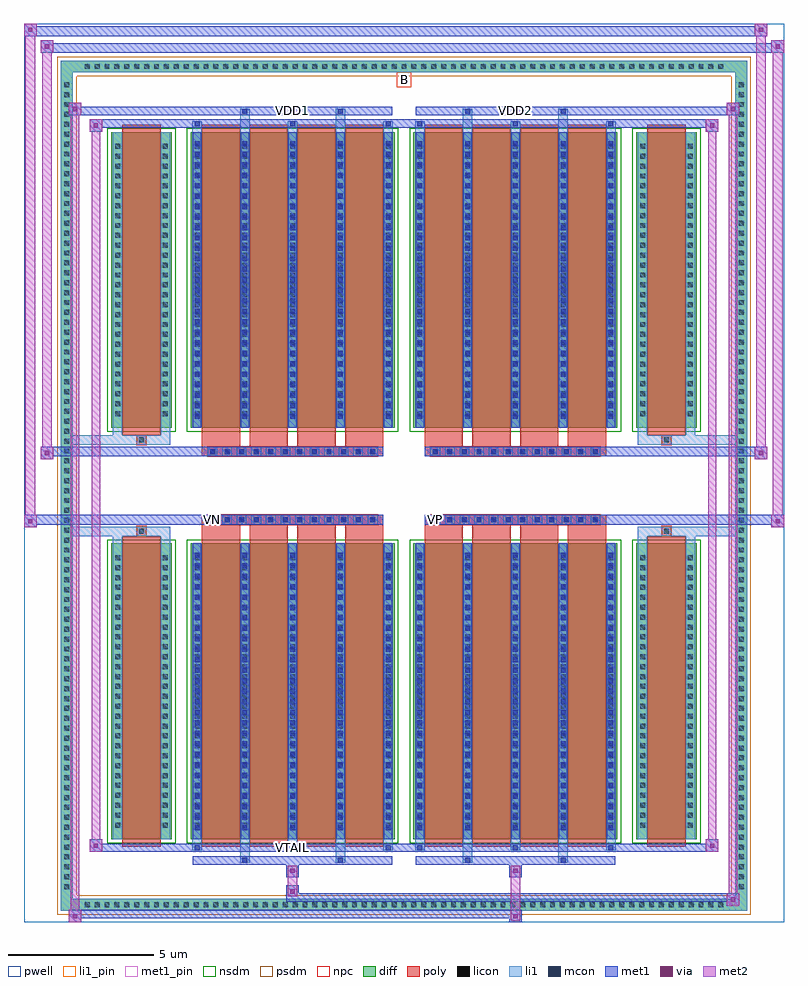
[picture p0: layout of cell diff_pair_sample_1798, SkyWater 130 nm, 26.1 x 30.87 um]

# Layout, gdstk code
import gdstk
lib = gdstk.Library(unit=1e-6, precision=5e-09)
def R(c, l, rs):  # rectangles x0, y0, x1, y1
    for r in rs: c.add(gdstk.rectangle(r[:2], r[2:], *l))
def A(c, l, x, y, w, h, nx, ny, dx, dy):  # array of equal rectangles
    R(c, l, [(x+i*dx, y+j*dy, x+i*dx+w, y+j*dy+h) for i in range(nx) for j in range(ny)])
def P(c, l, *ps):  # polygons
    for p in ps: c.add(gdstk.Polygon(p, *l))
pwell = (64, 44)
diff = (65, 20)
poly = (66, 20)
licon = (66, 44)
li1_pin = (67, 16)
li1 = (67, 20)
mcon = (67, 44)
met1_pin = (68, 16)
met1 = (68, 20)
via = (68, 44)
met2 = (69, 20)
nsdm = (93, 44)
psdm = (94, 20)
npc = (95, 20)

diff_pair_sample_1798 = lib.new_cell('diff_pair_sample_1798')
R(diff_pair_sample_1798, pwell, [(-13.05,-15,13.05,15.87), (-10.37,-13.19,-0.01,-0.805), (0.01,-13.19,10.37,-0.805), (-10.37,0.805,-0.01,13.19), (0.01,0.805,10.37,13.19)])
A(diff_pair_sample_1798, diff, -11.085, -14.6, 0.41, 0.41, 65, 2, 0.34, 28.79)
A(diff_pair_sample_1798, diff, -11.78, -13.975, 0.41, 0.41, 1, 82, 0, 0.34)
A(diff_pair_sample_1798, diff, 11.37, -13.975, 0.41, 0.41, 1, 82, 0, 0.34)
R(diff_pair_sample_1798, diff, [(-11.085,-14.6,11.085,-14.19), (-11.78,-13.975,-11.37,13.975), (11.37,-13.975,11.78,13.975), (-10.06,-12.145,-7.97,-1.985), (-7.33,-12.145,-0.32,-1.985), (0.32,-12.145,7.33,-1.985), (7.97,-12.145,10.06,-1.985), (-10.06,1.985,-7.97,12.145), (-7.33,1.985,-0.32,12.145), (0.32,1.985,7.33,12.145), (7.97,1.985,10.06,12.145), (-11.085,14.19,11.085,14.6)])
P(diff_pair_sample_1798, diff, [(11.78,14.6),(-11.78,14.6),(-11.78,-14.19),(-11.37,-14.19),(-11.37,14.19),(11.37,14.19),(11.37,-14.19),(-11.37,-14.19),(-11.78,-14.19),(-11.78,-14.6),(11.78,-14.6)])
A(diff_pair_sample_1798, poly, -6.94, -12.395, 1.31, 10.66, 4, 2, 1.64, 14.13)
A(diff_pair_sample_1798, poly, 0.71, -12.395, 1.31, 10.66, 4, 2, 1.64, 14.13)
A(diff_pair_sample_1798, poly, -6.94, -1.735, 1.31, 0.4, 4, 2, 1.64, 3.07)
A(diff_pair_sample_1798, poly, 0.71, -1.735, 1.31, 0.4, 4, 2, 1.64, 3.07)
A(diff_pair_sample_1798, poly, -6.74, -1.335, 0.33, 0.33, 12, 2, 0.5, 2.34)
A(diff_pair_sample_1798, poly, 0.91, -1.335, 0.33, 0.33, 12, 2, 0.5, 2.34)
R(diff_pair_sample_1798, poly, [(-9.67,-12.395,-8.36,-1.735), (8.36,-12.395,9.67,-1.735), (-9.18,-1.735,-8.85,-1.405), (-9.18,-1.735,-8.85,-1.405), (8.85,-1.735,9.18,-1.405), (8.85,-1.735,9.18,-1.405), (-6.94,-1.335,-0.71,-1.005), (0.71,-1.335,6.94,-1.005), (-6.94,1.005,-0.71,1.335), (0.71,1.005,6.94,1.335), (-9.18,1.405,-8.85,1.735), (-9.18,1.405,-8.85,1.735), (8.85,1.405,9.18,1.735), (8.85,1.405,9.18,1.735), (-9.67,1.735,-8.36,12.395), (8.36,1.735,9.67,12.395)])
A(diff_pair_sample_1798, licon, -10.965, -14.48, 0.17, 0.17, 65, 2, 0.34, 28.79)
A(diff_pair_sample_1798, licon, -11.66, -13.855, 0.17, 0.17, 1, 82, 0, 0.34)
A(diff_pair_sample_1798, licon, 11.49, -13.855, 0.17, 0.17, 1, 82, 0, 0.34)
A(diff_pair_sample_1798, licon, -9.92, -11.74, 0.17, 0.17, 1, 28, 0, 0.34)
A(diff_pair_sample_1798, licon, -8.28, -11.74, 0.17, 0.17, 1, 28, 0, 0.34)
A(diff_pair_sample_1798, licon, -7.19, -11.74, 0.17, 0.17, 5, 28, 1.64, 0.34)
A(diff_pair_sample_1798, licon, 0.46, -11.74, 0.17, 0.17, 5, 28, 1.64, 0.34)
A(diff_pair_sample_1798, licon, 8.11, -11.74, 0.17, 0.17, 1, 28, 0, 0.34)
A(diff_pair_sample_1798, licon, 9.75, -11.74, 0.17, 0.17, 1, 28, 0, 0.34)
A(diff_pair_sample_1798, licon, -6.66, -1.255, 0.17, 0.17, 12, 2, 0.5, 2.34)
A(diff_pair_sample_1798, licon, 0.99, -1.255, 0.17, 0.17, 12, 2, 0.5, 2.34)
A(diff_pair_sample_1798, licon, -9.92, 2.39, 0.17, 0.17, 1, 28, 0, 0.34)
A(diff_pair_sample_1798, licon, -8.28, 2.39, 0.17, 0.17, 1, 28, 0, 0.34)
A(diff_pair_sample_1798, licon, -7.19, 2.39, 0.17, 0.17, 5, 28, 1.64, 0.34)
A(diff_pair_sample_1798, licon, 0.46, 2.39, 0.17, 0.17, 5, 28, 1.64, 0.34)
A(diff_pair_sample_1798, licon, 8.11, 2.39, 0.17, 0.17, 1, 28, 0, 0.34)
A(diff_pair_sample_1798, licon, 9.75, 2.39, 0.17, 0.17, 1, 28, 0, 0.34)
R(diff_pair_sample_1798, licon, [(-9.1,-1.655,-8.93,-1.485), (8.93,-1.655,9.1,-1.485), (-9.1,1.485,-8.93,1.655), (8.93,1.485,9.1,1.655)])
R(diff_pair_sample_1798, li1_pin, [(-0.25,13.69,0.25,14.19)])
A(diff_pair_sample_1798, li1, -11.045, -14.56, 0.33, 0.33, 65, 2, 0.34, 28.79)
A(diff_pair_sample_1798, li1, -11.74, -13.935, 0.33, 0.33, 1, 82, 0, 0.34)
A(diff_pair_sample_1798, li1, 11.41, -13.935, 0.33, 0.33, 1, 82, 0, 0.34)
A(diff_pair_sample_1798, li1, -7.27, -12.52, 0.33, 0.375, 3, 2, 3.28, 24.665)
A(diff_pair_sample_1798, li1, -7.19, -12.52, 0.17, 0.17, 3, 2, 3.28, 24.87)
A(diff_pair_sample_1798, li1, 0.38, -12.52, 0.33, 0.375, 3, 2, 3.28, 24.665)
A(diff_pair_sample_1798, li1, 0.46, -12.52, 0.17, 0.17, 3, 2, 3.28, 24.87)
A(diff_pair_sample_1798, li1, -7.27, -12.145, 0.33, 10.16, 5, 2, 1.64, 14.13)
A(diff_pair_sample_1798, li1, 0.38, -12.145, 0.33, 10.16, 5, 2, 1.64, 14.13)
A(diff_pair_sample_1798, li1, -7.19, -11.83, 0.17, 0.17, 5, 27, 1.64, 0.36)
A(diff_pair_sample_1798, li1, -7.19, -11.83, 0.17, 9.53, 5, 2, 1.64, 14.13)
A(diff_pair_sample_1798, li1, 0.46, -11.83, 0.17, 0.17, 5, 27, 1.64, 0.36)
A(diff_pair_sample_1798, li1, 0.46, -11.83, 0.17, 9.53, 5, 2, 1.64, 14.13)
A(diff_pair_sample_1798, li1, -10, -11.82, 0.33, 0.33, 1, 28, 0, 0.34)
A(diff_pair_sample_1798, li1, -8.36, -11.82, 0.33, 0.33, 1, 28, 0, 0.34)
A(diff_pair_sample_1798, li1, -7.27, -11.82, 0.33, 0.33, 5, 28, 1.64, 0.34)
A(diff_pair_sample_1798, li1, 0.38, -11.82, 0.33, 0.33, 5, 28, 1.64, 0.34)
A(diff_pair_sample_1798, li1, 8.03, -11.82, 0.33, 0.33, 1, 28, 0, 0.34)
A(diff_pair_sample_1798, li1, 9.67, -11.82, 0.33, 0.33, 1, 28, 0, 0.34)
A(diff_pair_sample_1798, li1, -6.74, -1.335, 0.33, 0.33, 12, 2, 0.5, 2.34)
A(diff_pair_sample_1798, li1, 0.91, -1.335, 0.33, 0.33, 12, 2, 0.5, 2.34)
A(diff_pair_sample_1798, li1, -7.19, 2.3, 0.17, 0.17, 5, 27, 1.64, 0.36)
A(diff_pair_sample_1798, li1, 0.46, 2.3, 0.17, 0.17, 5, 27, 1.64, 0.36)
A(diff_pair_sample_1798, li1, -10, 2.31, 0.33, 0.33, 1, 28, 0, 0.34)
A(diff_pair_sample_1798, li1, -8.36, 2.31, 0.33, 0.33, 1, 28, 0, 0.34)
A(diff_pair_sample_1798, li1, -7.27, 2.31, 0.33, 0.33, 5, 28, 1.64, 0.34)
A(diff_pair_sample_1798, li1, 0.38, 2.31, 0.33, 0.33, 5, 28, 1.64, 0.34)
A(diff_pair_sample_1798, li1, 8.03, 2.31, 0.33, 0.33, 1, 28, 0, 0.34)
A(diff_pair_sample_1798, li1, 9.67, 2.31, 0.33, 0.33, 1, 28, 0, 0.34)
R(diff_pair_sample_1798, li1, [(-11.78,-14.6,-11.37,-14.19), (-11.78,-14.6,-11.37,-14.19), (-11.37,-14.6,11.37,-14.19), (11.37,-14.6,11.78,-14.19), (11.37,-14.6,11.78,-14.19), (-11.78,-14.19,-11.37,14.19), (11.37,-14.19,11.78,14.19), (-5.63,-12.95,-5.3,-12.145), (-5.55,-12.95,-5.38,-12.78), (-2.35,-12.95,-2.02,-12.145), (-2.27,-12.95,-2.1,-12.78), (2.02,-12.95,2.35,-12.145), (2.1,-12.95,2.27,-12.78), (5.3,-12.95,5.63,-12.145), (5.38,-12.95,5.55,-12.78), (-10,-12.145,-9.67,-1.985), (-8.36,-12.145,-8.03,-1.985), (8.03,-12.145,8.36,-1.985), (9.67,-12.145,10,-1.985), (-10,-1.985,-9.67,-1.405), (-8.36,-1.985,-8.03,-1.405), (8.03,-1.985,8.36,-1.405), (9.67,-1.985,10,-1.405), (-11.78,-1.735,-9.18,-1.405), (-10,-1.735,-9.18,-1.405), (-9.18,-1.735,-8.85,-1.405), (-8.85,-1.735,-8.03,-1.405), (8.03,-1.735,8.85,-1.405), (8.85,-1.735,9.18,-1.405), (8.85,-1.735,11.78,-1.405), (9.18,-1.735,10,-1.405), (-11.78,1.405,-9.18,1.735), (-10,1.405,-9.18,1.735), (-10,1.405,-9.67,1.985), (-9.18,1.405,-8.85,1.735), (-8.85,1.405,-8.03,1.735), (-8.36,1.405,-8.03,1.985), (8.03,1.405,8.85,1.735), (8.03,1.405,8.36,1.985), (8.85,1.405,9.18,1.735), (8.85,1.405,11.78,1.735), (9.18,1.405,10,1.735), (9.67,1.405,10,1.985), (-10,1.985,-9.67,12.145), (-8.36,1.985,-8.03,12.145), (8.03,1.985,8.36,12.145), (9.67,1.985,10,12.145), (-5.63,12.145,-5.3,12.95), (-2.35,12.145,-2.02,12.95), (2.02,12.145,2.35,12.95), (5.3,12.145,5.63,12.95), (-5.55,12.78,-5.38,12.95), (-2.27,12.78,-2.1,12.95), (2.1,12.78,2.27,12.95), (5.38,12.78,5.55,12.95), (-11.78,14.19,-11.37,14.6), (-11.78,14.19,-11.37,14.6), (-11.37,14.19,11.37,14.6), (11.37,14.19,11.78,14.6), (11.37,14.19,11.78,14.6)])
A(diff_pair_sample_1798, mcon, -7.19, -12.52, 0.17, 0.17, 3, 2, 3.28, 24.87)
A(diff_pair_sample_1798, mcon, 0.46, -12.52, 0.17, 0.17, 3, 2, 3.28, 24.87)
A(diff_pair_sample_1798, mcon, -7.19, -11.83, 0.17, 0.17, 5, 27, 1.64, 0.36)
A(diff_pair_sample_1798, mcon, 0.46, -11.83, 0.17, 0.17, 5, 27, 1.64, 0.36)
A(diff_pair_sample_1798, mcon, -6.66, -1.255, 0.17, 0.17, 12, 2, 0.5, 2.34)
A(diff_pair_sample_1798, mcon, 0.99, -1.255, 0.17, 0.17, 12, 2, 0.5, 2.34)
A(diff_pair_sample_1798, mcon, -7.19, 2.3, 0.17, 0.17, 5, 27, 1.64, 0.36)
A(diff_pair_sample_1798, mcon, 0.46, 2.3, 0.17, 0.17, 5, 27, 1.64, 0.36)
R(diff_pair_sample_1798, mcon, [(-5.55,-12.95,-5.38,-12.78), (-2.27,-12.95,-2.1,-12.78), (2.1,-12.95,2.27,-12.78), (5.38,-12.95,5.55,-12.78), (-5.55,12.78,-5.38,12.95), (-2.27,12.78,-2.1,12.95), (2.1,12.78,2.27,12.95), (5.38,12.78,5.55,12.95)])
R(diff_pair_sample_1798, met1_pin, [(-3.96,-12.56,-3.69,-12.29), (-6.71,-1.295,-6.44,-1.025), (0.94,-1.295,1.21,-1.025), (-3.96,12.74,-3.69,13.01), (3.69,12.74,3.96,13.01)])
A(diff_pair_sample_1798, met1, -7.25, -12.58, 0.29, 0.29, 3, 2, 3.28, 24.87)
A(diff_pair_sample_1798, met1, 0.4, -12.58, 0.29, 0.29, 3, 2, 3.28, 24.87)
A(diff_pair_sample_1798, met1, -7.25, -12.145, 0.29, 10.16, 5, 2, 1.64, 14.13)
A(diff_pair_sample_1798, met1, 0.4, -12.145, 0.29, 10.16, 5, 2, 1.64, 14.13)
A(diff_pair_sample_1798, met1, -7.25, -11.89, 0.29, 0.29, 5, 27, 1.64, 0.36)
A(diff_pair_sample_1798, met1, 0.4, -11.89, 0.29, 0.29, 5, 27, 1.64, 0.36)
A(diff_pair_sample_1798, met1, -6.72, -1.315, 0.29, 0.29, 12, 2, 0.5, 2.34)
A(diff_pair_sample_1798, met1, 0.93, -1.315, 0.29, 0.29, 12, 2, 0.5, 2.34)
A(diff_pair_sample_1798, met1, -7.25, 2.24, 0.29, 0.29, 5, 27, 1.64, 0.36)
A(diff_pair_sample_1798, met1, 0.4, 2.24, 0.29, 0.29, 5, 27, 1.64, 0.36)
R(diff_pair_sample_1798, met1, [(-11.51,-15,-11.08,-14.57), (3.61,-15,4.04,-14.57), (-11.51,-14.86,4.04,-14.57), (11.08,-14.43,11.51,-14), (-4.04,-14.29,11.51,-14), (-4.04,-14.15,-3.61,-13.72), (-4.04,-13.44,-3.61,-13.01), (3.61,-13.44,4.04,-13.01), (-7.25,-13.01,-0.4,-12.72), (-5.61,-13.01,-5.32,-12.72), (-2.33,-13.01,-2.04,-12.72), (0.4,-13.01,7.25,-12.72), (2.04,-13.01,2.33,-12.72), (5.32,-13.01,5.61,-12.72), (-10.8,-12.58,-10.37,-12.15), (-10.8,-12.58,-7.25,-12.29), (-7.25,-12.58,-0.4,-12.29), (-0.4,-12.58,0.4,-12.29), (0.4,-12.58,7.25,-12.29), (7.25,-12.58,10.8,-12.29), (10.37,-12.58,10.8,-12.15), (-13.05,-1.435,-12.62,-1.005), (12.62,-1.435,13.05,-1.005), (-13.05,-1.335,-0.71,-1.005), (-6.94,-1.335,-0.71,-1.005), (0.71,-1.335,6.94,-1.005), (0.71,-1.335,13.05,-1.005), (-12.48,0.905,-12.05,1.335), (12.05,0.905,12.48,1.335), (-12.48,1.005,-6.94,1.335), (-6.94,1.005,-0.71,1.335), (0.71,1.005,6.94,1.335), (6.94,1.005,12.48,1.335), (-10.8,12.15,-10.37,12.58), (10.37,12.15,10.8,12.58), (-10.8,12.29,-7.25,12.58), (-7.25,12.29,-0.4,12.58), (-0.4,12.29,0.4,12.58), (0.4,12.29,7.25,12.58), (7.25,12.29,10.8,12.58), (-11.51,12.72,-11.08,13.15), (-11.51,12.72,-7.25,13.01), (-7.25,12.72,-0.4,13.01), (-5.61,12.72,-5.32,13.01), (-2.33,12.72,-2.04,13.01), (0.4,12.72,7.25,13.01), (2.04,12.72,2.33,13.01), (5.32,12.72,5.61,13.01), (7.25,12.72,11.51,13.01), (11.08,12.72,11.51,13.15), (-12.48,14.87,-12.05,15.3), (-12.48,14.87,-10.37,15.2), (-10.37,14.87,10.37,15.2), (10.37,14.87,13.05,15.2), (12.62,14.87,13.05,15.3), (-13.05,15.44,-12.62,15.87), (-13.05,15.44,-10.37,15.77), (-10.37,15.44,10.37,15.77), (10.37,15.44,12.48,15.77), (12.05,15.44,12.48,15.87)])
R(diff_pair_sample_1798, via, [(-11.37,-14.86,-11.22,-14.71), (3.75,-14.86,3.9,-14.71), (11.22,-14.29,11.37,-14.14), (-3.9,-14.01,-3.75,-13.86), (-3.9,-13.3,-3.75,-13.15), (3.75,-13.3,3.9,-13.15), (-10.66,-12.44,-10.51,-12.29), (10.51,-12.44,10.66,-12.29), (-12.91,-1.295,-12.76,-1.145), (12.76,-1.295,12.91,-1.145), (-12.34,1.045,-12.19,1.195), (12.19,1.045,12.34,1.195), (-10.66,12.29,-10.51,12.44), (10.51,12.29,10.66,12.44), (-11.37,12.86,-11.22,13.01), (11.22,12.86,11.37,13.01), (-12.34,15.01,-12.19,15.16), (12.76,15.01,12.91,15.16), (-12.91,15.58,-12.76,15.73), (12.19,15.58,12.34,15.73)])
R(diff_pair_sample_1798, met2, [(-11.51,-15,-11.08,-14.57), (-11.44,-15,-11.15,13.15), (-11.15,-15,-11.08,-14.57), (-11.46,-14.95,-11.13,-14.62), (3.66,-14.95,3.99,-14.62), (3.66,-14.62,3.99,-13.39), (11.08,-14.43,11.51,-14), (11.15,-14.43,11.44,13.15), (11.44,-14.43,11.51,-14), (11.13,-14.38,11.46,-14.05), (-3.99,-14.1,-3.66,-13.77), (-3.99,-13.77,-3.66,-13.39), (-3.99,-13.39,-3.66,-13.06), (3.66,-13.39,3.99,-13.06), (-10.8,-12.58,-10.37,-12.15), (-10.73,-12.58,-10.44,12.58), (-10.44,-12.58,-10.37,-12.15), (10.37,-12.58,10.8,-12.15), (10.44,-12.58,10.73,12.58), (10.73,-12.58,10.8,-12.15), (-10.75,-12.53,-10.42,-12.2), (10.42,-12.53,10.75,-12.2), (-13.05,-1.435,-12.62,-1.005), (-13,-1.435,-12.67,15.87), (-12.67,-1.435,-12.62,-1.005), (12.62,-1.435,13.05,-1.005), (12.67,-1.435,13,15.3), (13,-1.435,13.05,-1.005), (-13,-1.385,-12.67,-1.055), (12.67,-1.385,13,-1.055), (-12.48,0.905,-12.05,1.335), (-12.43,0.905,-12.1,15.3), (-12.1,0.905,-12.05,1.335), (12.05,0.905,12.48,1.335), (12.1,0.905,12.43,15.87), (12.43,0.905,12.48,1.335), (-12.43,0.955,-12.1,1.285), (12.1,0.955,12.43,1.285), (-10.8,12.15,-10.37,12.58), (-10.44,12.15,-10.37,12.58), (10.37,12.15,10.8,12.58), (10.73,12.15,10.8,12.58), (-10.75,12.2,-10.42,12.53), (10.42,12.2,10.75,12.53), (-11.51,12.72,-11.08,13.15), (-11.15,12.72,-11.08,13.15), (11.08,12.72,11.51,13.15), (11.44,12.72,11.51,13.15), (-11.46,12.77,-11.13,13.1), (11.13,12.77,11.46,13.1), (-12.48,14.87,-12.05,15.3), (-12.1,14.87,-12.05,15.3), (12.62,14.87,13.05,15.3), (13,14.87,13.05,15.3), (-12.43,14.92,-12.1,15.25), (12.67,14.92,13,15.25), (-13.05,15.44,-12.62,15.87), (-12.67,15.44,-12.62,15.87), (12.05,15.44,12.48,15.87), (12.43,15.44,12.48,15.87), (-13,15.49,-12.67,15.82), (12.1,15.49,12.43,15.82)])
R(diff_pair_sample_1798, nsdm, [(-10.19,-12.275,-7.84,-1.855), (-7.46,-12.275,-0.19,-1.855), (0.19,-12.275,7.46,-1.855), (7.84,-12.275,10.19,-1.855), (-10.19,1.855,-7.84,12.275), (-7.46,1.855,-0.19,12.275), (0.19,1.855,7.46,12.275), (7.84,1.855,10.19,12.275)])
P(diff_pair_sample_1798, psdm, [(11.91,14.73),(-11.91,14.73),(-11.91,-14.06),(-11.24,-14.06),(-11.24,14.06),(11.24,14.06),(11.24,-14.06),(-11.24,-14.06),(-11.91,-14.06),(-11.91,-14.73),(11.91,-14.73)])
A(diff_pair_sample_1798, npc, -6.76, -1.355, 0.37, 0.37, 12, 2, 0.5, 2.34)
A(diff_pair_sample_1798, npc, 0.89, -1.355, 0.37, 0.37, 12, 2, 0.5, 2.34)
R(diff_pair_sample_1798, npc, [(-9.2,-1.755,-8.83,-1.385), (8.83,-1.755,9.2,-1.385), (-6.76,-1.355,-5.89,-0.985), (-6.76,-1.355,-5.89,-0.985), (-6.26,-1.355,-5.39,-0.985), (-6.26,-1.355,-5.39,-0.985), (-5.76,-1.355,-4.89,-0.985), (-5.76,-1.355,-4.89,-0.985), (-5.26,-1.355,-4.39,-0.985), (-5.26,-1.355,-4.39,-0.985), (-4.76,-1.355,-3.89,-0.985), (-4.76,-1.355,-3.89,-0.985), (-4.26,-1.355,-3.39,-0.985), (-4.26,-1.355,-3.39,-0.985), (-3.76,-1.355,-2.89,-0.985), (-3.76,-1.355,-2.89,-0.985), (-3.26,-1.355,-2.39,-0.985), (-3.26,-1.355,-2.39,-0.985), (-2.76,-1.355,-1.89,-0.985), (-2.76,-1.355,-1.89,-0.985), (-2.26,-1.355,-1.39,-0.985), (-2.26,-1.355,-1.39,-0.985), (-1.76,-1.355,-0.89,-0.985), (-1.76,-1.355,-0.89,-0.985), (0.89,-1.355,1.76,-0.985), (0.89,-1.355,1.76,-0.985), (1.39,-1.355,2.26,-0.985), (1.39,-1.355,2.26,-0.985), (1.89,-1.355,2.76,-0.985), (1.89,-1.355,2.76,-0.985), (2.39,-1.355,3.26,-0.985), (2.39,-1.355,3.26,-0.985), (2.89,-1.355,3.76,-0.985), (2.89,-1.355,3.76,-0.985), (3.39,-1.355,4.26,-0.985), (3.39,-1.355,4.26,-0.985), (3.89,-1.355,4.76,-0.985), (3.89,-1.355,4.76,-0.985), (4.39,-1.355,5.26,-0.985), (4.39,-1.355,5.26,-0.985), (4.89,-1.355,5.76,-0.985), (4.89,-1.355,5.76,-0.985), (5.39,-1.355,6.26,-0.985), (5.39,-1.355,6.26,-0.985), (5.89,-1.355,6.76,-0.985), (5.89,-1.355,6.76,-0.985), (-6.76,0.985,-5.89,1.355), (-6.76,0.985,-5.89,1.355), (-6.26,0.985,-5.39,1.355), (-6.26,0.985,-5.39,1.355), (-5.76,0.985,-4.89,1.355), (-5.76,0.985,-4.89,1.355), (-5.26,0.985,-4.39,1.355), (-5.26,0.985,-4.39,1.355), (-4.76,0.985,-3.89,1.355), (-4.76,0.985,-3.89,1.355), (-4.26,0.985,-3.39,1.355), (-4.26,0.985,-3.39,1.355), (-3.76,0.985,-2.89,1.355), (-3.76,0.985,-2.89,1.355), (-3.26,0.985,-2.39,1.355), (-3.26,0.985,-2.39,1.355), (-2.76,0.985,-1.89,1.355), (-2.76,0.985,-1.89,1.355), (-2.26,0.985,-1.39,1.355), (-2.26,0.985,-1.39,1.355), (-1.76,0.985,-0.89,1.355), (-1.76,0.985,-0.89,1.355), (0.89,0.985,1.76,1.355), (0.89,0.985,1.76,1.355), (1.39,0.985,2.26,1.355), (1.39,0.985,2.26,1.355), (1.89,0.985,2.76,1.355), (1.89,0.985,2.76,1.355), (2.39,0.985,3.26,1.355), (2.39,0.985,3.26,1.355), (2.89,0.985,3.76,1.355), (2.89,0.985,3.76,1.355), (3.39,0.985,4.26,1.355), (3.39,0.985,4.26,1.355), (3.89,0.985,4.76,1.355), (3.89,0.985,4.76,1.355), (4.39,0.985,5.26,1.355), (4.39,0.985,5.26,1.355), (4.89,0.985,5.76,1.355), (4.89,0.985,5.76,1.355), (5.39,0.985,6.26,1.355), (5.39,0.985,6.26,1.355), (5.89,0.985,6.76,1.355), (5.89,0.985,6.76,1.355), (-9.2,1.385,-8.83,1.755), (8.83,1.385,9.2,1.755)])
diff_pair_sample_1798.add(gdstk.Label('VTAIL', (-3.825,-12.425), layer=68, texttype=5))
diff_pair_sample_1798.add(gdstk.Label('VN', (-6.575,-1.16), layer=68, texttype=5))
diff_pair_sample_1798.add(gdstk.Label('VP', (1.075,-1.16), layer=68, texttype=5))
diff_pair_sample_1798.add(gdstk.Label('B', (0,13.94), layer=67, texttype=5))
diff_pair_sample_1798.add(gdstk.Label('VDD2', (3.825,12.875), layer=68, texttype=5))
diff_pair_sample_1798.add(gdstk.Label('VDD1', (-3.825,12.875), layer=68, texttype=5))

lib.write_gds('diff_pair_sample_1798.gds')
